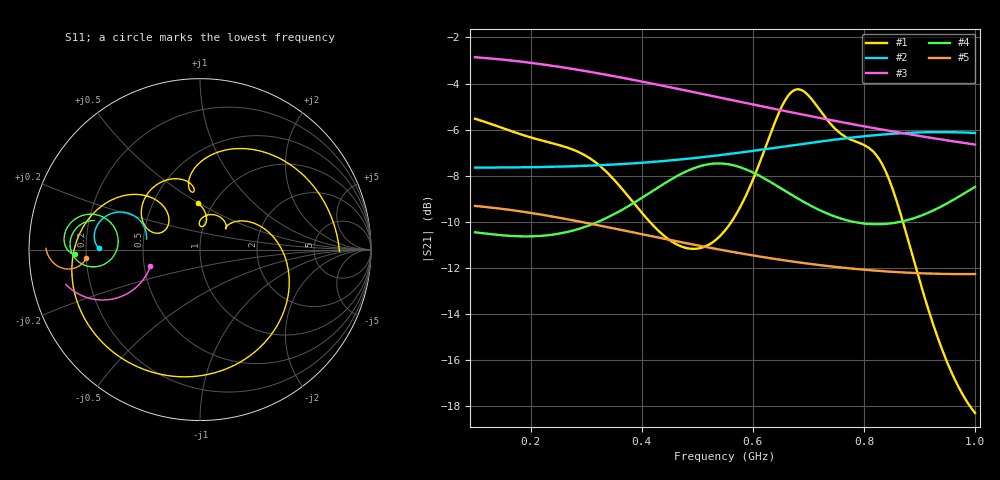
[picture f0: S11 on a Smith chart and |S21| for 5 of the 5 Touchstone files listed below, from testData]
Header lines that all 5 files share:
! Created with skrf (http://scikit-rf.org).
# MHz S RI R 376.73031366686166
!freq ReS11 ImS11 ReS21 ImS21 ReS12 ImS12 ReS22 ImS22
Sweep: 100 MHz to 1 GHz
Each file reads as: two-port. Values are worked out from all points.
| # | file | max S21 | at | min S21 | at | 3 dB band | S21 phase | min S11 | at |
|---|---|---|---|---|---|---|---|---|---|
| 1 | multi_112_7.s2p | -4.25 dB | 680.9 MHz | -18.3 dB | 1 GHz | 617.7 MHz-825.4 MHz | 174 deg at 551.5 MHz | -17.4 dB | 166.2 MHz |
| 2 | single_6_8_6.s2p | -6.10 dB | 936.8 MHz | -7.6 dB | 100 MHz | 100 MHz-1 GHz | -91 deg at 551.5 MHz | -9.9 dB | 1 GHz |
| 3 | single_20_5_1.s2p | -2.86 dB | 100 MHz | -6.6 dB | 1 GHz | 100 MHz-801.3 MHz | -45 deg at 551.5 MHz | -10.3 dB | 100 MHz |
| 4 | single_20_5_6.s2p | -7.47 dB | 539.5 MHz | -10.6 dB | 193.3 MHz | 262.5 MHz-1 GHz | -176 deg at 551.5 MHz | -6.4 dB | 554.5 MHz |
| 5 | single_50_1_1.s2p | -9.31 dB | 100 MHz | -12.3 dB | 981.9 MHz | 100 MHz-1 GHz | -54 deg at 551.5 MHz | -3.5 dB | 100 MHz |
